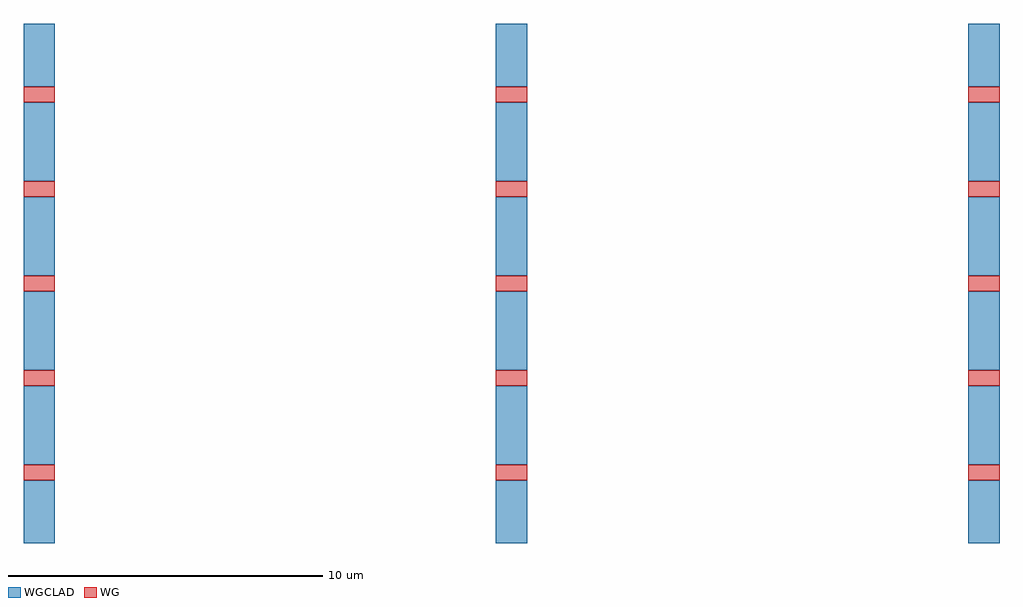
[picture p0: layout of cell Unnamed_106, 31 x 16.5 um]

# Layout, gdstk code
import gdstk
lib = gdstk.Library(unit=1e-6, precision=1e-09)
def R(c, l, rs):  # rectangles x0, y0, x1, y1
    for r in rs: c.add(gdstk.rectangle(r[:2], r[2:], *l))
WG = (1, 0)
WGCLAD = (111, 0)

straight_w500_l1000_lwg_ = lib.new_cell('straight_W500_L1000_LWG_EWGSTD')
R(straight_w500_l1000_lwg_, WG, [(0,-0.25,1,0.25)])
R(straight_w500_l1000_lwg_, WGCLAD, [(0,-2.25,1,-0.25), (0,0.25,1,2.25)])

unnamed_106 = lib.new_cell('Unnamed_106')
r = gdstk.Reference(straight_w500_l1000_lwg_, (0,0)); r.repetition = gdstk.Repetition(3, 5, v1=(15,0), v2=(0,3)); unnamed_106.add(r)

lib.write_gds('Unnamed_106.gds')
